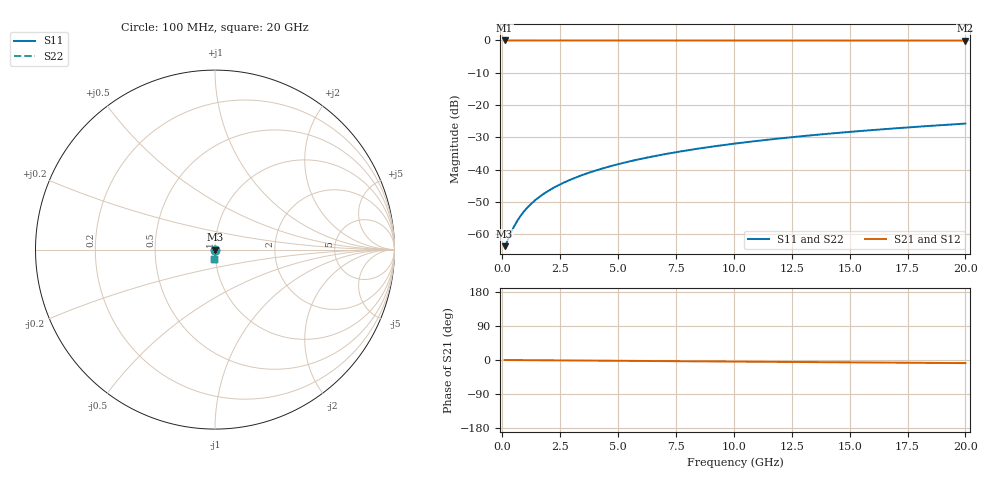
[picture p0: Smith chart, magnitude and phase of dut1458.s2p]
! Touchstone file exported from HFSS 2026.1.0
!  File:  C:/ffzhzh/LocalFiles/Ansys_Project_Files/temp_train_TSV_1458_1783198033_22436.aedt
!  Generated:  04:48:56 AM Jul  5, 2026
!  Design:  TSV
!  Project:  temp_train_TSV_1458_1783198033_22436
! Variables:
!  h_bsmrdl = 2um
!  h_ox = 20um
!  h_rdl = 5um
!  h_sub = 84.76um
!  h_tmrdl = 5um
!  h_tsv = 84.76um
!  h_via = 3um
!  l_bsmrdl = 300um
!  l_sub = 408.08um
!  l_tmrdl = 200um
!  m_sub = 200um
!  pitch = 11.73um
!  r_tsv = 4.04um
!  s_tmrdl = 10um
!  w_bsmrdl = 18um
!  w_sub = 500um
!  w_tmrdl = 12um
!  x_tsv_center1 = 206um
!  x_tsv_center2 = 524um
!  x_tsv_center3 = 736um
!  x_tsv_center4 = 1054um
!  x_tsv_center5 = 1266um
!  x_tsv_center6 = 1584um
# GHz S MA R 50.000000
! Terminal data exported
! Port[1] = TSV1_1_T1
! Port[2] = TSV1_1_T2
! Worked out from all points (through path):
!   200 points, 100 MHz to 20 GHz, reference 50 ohm
!   highest |S21| = -0.01 dB at 100 MHz (marker M1); lowest = 0.0 dB at 20 GHz (marker M2)
!   group delay of S21, straight-line fit = 1.14 ps
!   lowest |S11| = -63.6 dB at 100 MHz (marker M3), VSWR 1.00, Z = 50.1 - j0.0179 ohm
!   |S11| at or under -10 dB: start of sweep to end of sweep
!   |S22| runs from -63.6 to -25.7 dB; largest |S21 - S12| = 2.5e-15
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0.1  0.000658 -15.8  0.9994 -0.0  0.9994 -0.0  0.000658 -15.8
! Gamma 0 0 0 0
! Port Impedance 50 0 50 0
0.2  0.000766 -29.4  0.9993 -0.1  0.9993 -0.1  0.000766 -29.4
0.4  0.001105 -48.2  0.9993 -0.2  0.9993 -0.2  0.001105 -48.2
0.5  0.001306 -54.3  0.9992 -0.2  0.9992 -0.2  0.001306 -54.3
0.7  0.001735 -62.6  0.9992 -0.3  0.9992 -0.3  0.001735 -62.6
0.8  0.001956 -65.5  0.9992 -0.3  0.9992 -0.3  0.001956 -65.5
1  0.002408 -69.8  0.9991 -0.4  0.9991 -0.4  0.002408 -69.8
1.3  0.003099 -73.9  0.9991 -0.6  0.9991 -0.6  0.003099 -73.9
1.7  0.004036 -77.2  0.999 -0.7  0.999 -0.7  0.004036 -77.2
2.2  0.005225 -79.6  0.999 -0.9  0.999 -0.9  0.005225 -79.6
2.8  0.006677 -81.4  0.9988 -1.2  0.9988 -1.2  0.006677 -81.4
3.5  0.0084 -82.7  0.9987 -1.5  0.9987 -1.5  0.0084 -82.7
4.2  0.01015 -83.7  0.9985 -1.8  0.9985 -1.8  0.01015 -83.7
5  0.01219 -84.6  0.9983 -2.1  0.9983 -2.1  0.01219 -84.6
5.9  0.01451 -85.5  0.9981 -2.5  0.9981 -2.5  0.01451 -85.5
6.8  0.01685 -86.3  0.9979 -2.9  0.9979 -2.9  0.01685 -86.3
8.3  0.02079 -87.5  0.9976 -3.5  0.9976 -3.5  0.02079 -87.5
10.1  0.02554 -88.8  0.9972 -4.2  0.9972 -4.2  0.02554 -88.8
11.7  0.02978 -89.8  0.9969 -4.9  0.9969 -4.9  0.02978 -89.8
13.4  0.03428 -90.9  0.9966 -5.6  0.9966 -5.6  0.03428 -90.9
16.7  0.04302 -92.7  0.9959 -6.9  0.9959 -6.9  0.04302 -92.7
20  0.05175 -94.4  0.9952 -8.2  0.9952 -8.2  0.05176 -94.4
